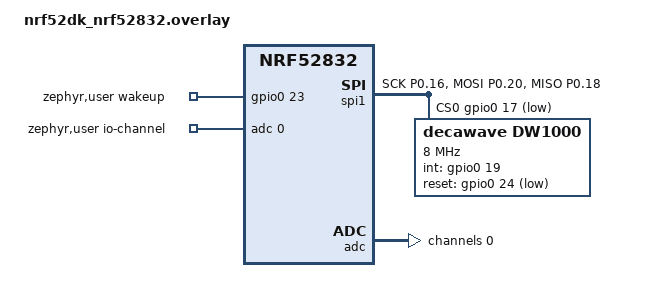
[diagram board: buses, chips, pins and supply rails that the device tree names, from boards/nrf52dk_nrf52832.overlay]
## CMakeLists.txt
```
cmake_minimum_required(VERSION 3.20.0)

# Board overlay for DWM1001 pin assignments is at boards/nrf52dk_nrf52832.overlay.
# Zephyr picks it up automatically when building with -b nrf52dk_nrf52832.

# ---------------------------------------------------------------------------
# Low-power tag profile (ADR-0046, UWB-314)
#
# `-DCONFIG_UWB_TAG_LOW_POWER=y` on the west build command line is a CLI
# Kconfig override. Under this app's sysbuild flow (sysbuild.conf enables
# MCUboot), sysbuild forwards a raw `-DCONFIG_<NAME>=<val>` CLI arg to this
# child image's own cmake invocation as `-DCLI_CONFIG_<NAME>:INTERNAL=<val>`
# (renamed to avoid colliding with Kconfig's own `CONFIG_<NAME>` cache
# variable, which does not exist yet at this point) — verified empirically
# against this repo's pinned NCS v2.7.0 tree (build_lowpower/UWB-314/
# CMakeCache.txt) while implementing this ticket; a plain
# `if(CONFIG_UWB_TAG_LOW_POWER)` check here silently sees nothing, even
# though Kconfig itself (inside find_package(Zephyr) below) correctly
# resolves the same CLI override on its own, independently of this check.
#
# So: check CLI_CONFIG_UWB_TAG_LOW_POWER here, *before* find_package(Zephyr)
# runs Kconfig, to conditionally layer overlay-lowpower.conf on top of
# prj.conf via EXTRA_CONF_FILE (which must be set before find_package(Zephyr)
# — the documented Zephyr mechanism for CMake-time-conditional conf
# fragments). See overlay-lowpower.conf's header comment for what it sets and
# why a .conf fragment (rather than a Kconfig `default`) is required here.
# Default (bench) builds do not pass the CLI override, so neither variable is
# set and EXTRA_CONF_FILE is left untouched — behaviour is unchanged.
# ---------------------------------------------------------------------------
if(CLI_CONFIG_UWB_TAG_LOW_POWER)
  list(APPEND EXTRA_CONF_FILE "${CMAKE_CURRENT_SOURCE_DIR}/overlay-lowpower.conf")
endif()

find_package(Zephyr REQUIRED HINTS $ENV{ZEPHYR_BASE})
project(uwb_tag_firmware VERSION 0.1.0)

# NOTE: the VERSION above is plain CMake project() metadata, unrelated to the
# MCUboot-signed *image* version. The single source of truth for the image
# version is the top-level VERSION file (UWB-266, ADR-0040) -- Zephyr
# generates include/generated/app_version.h from it (APP_VERSION_STRING
# etc., consumed by src/main.c) and CONFIG_MCUBOOT_IMGTOOL_SIGN_VERSION
# defaults from the same file (zephyr/modules/Kconfig.mcuboot), so imgtool
# signs with the identical version reported in the boot log / over SMP.

target_sources(app PRIVATE
  src/main.c
  src/image_health.c          # pure gate decision logic (UWB-266, host-testable)
  src/image_health_zephyr.c   # Zephyr-side check gathering (UWB-266)
  src/ble_adv_policy.c         # pure BLE adv-policy decision (UWB-320, host-testable)
  src/ble_adv_policy_zephyr.c  # Zephyr-side BLE adv start/stop wiring (UWB-320)
)

if(CONFIG_UWB_BATTERY_MONITOR)
  target_sources(app PRIVATE
    src/battery.c          # pure raw-counts -> mV/percent conversion (UWB-322, host-testable)
    src/battery_zephyr.c   # Zephyr-side SAADC read + timer + os_mgmt/log wiring (UWB-322)
  )
endif()

# Vendored Decawave DW1000 driver (enabled via CONFIG_DW1000 in prj.conf).
# The subdirectory CMakeLists.txt gates itself on CONFIG_DW1000.
add_subdirectory(drivers/dw1000)
```

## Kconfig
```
# Application root Kconfig for uwb_tag_firmware.
#
# Zephyr's CMake module (cmake/modules/kconfig.cmake) automatically promotes
# this file to KCONFIG_ROOT when it is present in APPLICATION_SOURCE_DIR,
# replacing the default $(ZEPHYR_BASE)/Kconfig.  This file therefore MUST
# source the Zephyr tree first so that all board/SoC/kernel symbols are still
# defined.
#
# Application-specific symbols are sourced after the Zephyr tree.

source "$(ZEPHYR_BASE)/Kconfig"

# DW1000 UWB transceiver driver (vendored Decawave API)
source "$(APPLICATION_SOURCE_DIR)/drivers/dw1000/Kconfig"

# ---------------------------------------------------------------------------
# Tag power-management profile (ADR-0046, UWB-314)
#
# "LocationTag" is a low-power *profile* of the single tag app, not a forked
# app/board (ADR-0046 "Decision"). This symbol is the switch; what it
# actually changes lives in overlay-lowpower.conf, layered on top of
# prj.conf by CMakeLists.txt (EXTRA_CONF_FILE) whenever this is set — see
# that file's header comment for the settings themselves and why they live
# in a .conf fragment rather than Kconfig `default`/`select` overrides here
# (the board's own nrf52dk_nrf52832_defconfig assigns real values to several
# of the symbols involved, which outranks any conditional Kconfig default).
#
# Bench/debug builds (this symbol left at its default, n) are unaffected:
# RTT + UART logging and always-on BLE advertising are unchanged.
#
# Out of scope here (later UWB-13 subissues, ADR-0046 "New work created"):
# DW1000 sleep/wake (UWB-316), the STANDBY state machine (UWB-319),
# BLE-advertising duty-cycle policy (UWB-320), battery monitoring (UWB-322).
# ---------------------------------------------------------------------------

config UWB_TAG_LOW_POWER
	bool "Low-power tag profile (ADR-0046 'LocationTag')"
	default n
	help
	  Enables the field/low-power operating profile described in ADR-0046
	  (docs/adr/0046-tag-power-management-profile.md, FUNDAMENTALS_SPORTS
	  repo): CONFIG_PM_DEVICE plus dropping the RTT/UART log backends (and
	  the UART console) that would otherwise hold the CPU and peripherals
	  awake, and a lower default log level. See overlay-lowpower.conf for
	  the exact settings.

	  NOTE — CONFIG_PM (system-level power-state residency policy) is NOT
	  enabled by this symbol: on the pinned NCS v2.7.0 / Zephyr 3.6.99 tree
	  this repo builds against, no Nordic SoC (nRF52/53/91/54) `select`s
	  HAS_PM, so CONFIG_PM has no satisfiable path to y on nrf52dk_nrf52832
	  (verified locally — `select PM` here fails Kconfig's dependency
	  check). Zephyr's tickless kernel (CONFIG_TICKLESS_KERNEL, default y
	  when TICKLESS_CAPABLE) and the Cortex-M idle loop's WFE/WFI already
	  give event-driven CPU idle between radio events without CONFIG_PM;
	  CONFIG_PM would only add SoC-level residency-state *policy* on top,
	  which this SoC port does not implement in this Zephyr version.
	  CONFIG_PM_DEVICE (device suspend/resume hooks, used by the DW1000
	  sleep seam, UWB-316) has no such dependency and is enabled normally.

	  Leave at the default (n) for bench/debug builds.

	  This is the build-profile + PM-baseline mechanism only (UWB-314). It
	  does not implement the STANDBY state machine, DW1000 sleep/wake, BLE
	  advertising duty-cycling, or battery monitoring — those are separate
	  UWB-13 subissues (UWB-316/319/320/322) that build on this seam.

# ---------------------------------------------------------------------------
# Battery voltage monitor (ADR-0046 point 5, UWB-322)
#
# A local seam only: reads nRF52 SAADC VDD (against the internal reference)
# on a low-rate timer and surfaces the result over MCUmgr os_mgmt (a custom
# "info" format specifier, see src/battery_zephyr.c) and a periodic log
# line. Reporting battery to the cloud would ride the UWB blink payload,
# which needs a contracts/uwb MINOR bump plus solver/schema changes across
# three repos — deferred to "fork B" per ADR-0046's "Open" section; out of
# scope here. This symbol is independent of CONFIG_UWB_TAG_LOW_POWER: it is
# useful in both the bench and low-power profiles.
# ---------------------------------------------------------------------------

config UWB_BATTERY_MONITOR
	bool "Battery voltage monitor (SAADC VDD, ADR-0046 point 5)"
	select ADC
	default n
	help
	  Enables src/battery.c's pure raw-ADC-counts -> millivolts/percentage
	  conversion (host-testable, tests/battery) and src/battery_zephyr.c's
	  SAADC read + low-rate sample loop (CONFIG_UWB_BATTERY_SAMPLE_INTERVAL_S)
	  + os_mgmt/log surfacing.

	  Requires the board devicetree to wire an ADC channel reading
	  NRF_SAADC_VDD (see boards/nrf52dk_nrf52832.overlay's "zephyr,user"
	  node) — battery_zephyr.c fails a devicetree #error at build time if
	  that channel is missing.

	  Out of scope: reporting battery via the UWB blink payload (deferred,
	  ADR-0046 fork B) and low-battery shutdown behaviour (a later
	  ticket).

if UWB_BATTERY_MONITOR

config UWB_BATTERY_SAMPLE_INTERVAL_S
	int "Battery SAADC sample interval (seconds)"
	default 300
	range 1 86400
	help
	  How often battery_zephyr.c re-arms its delayable work item to take a
	  fresh SAADC VDD sample. ADR-0046 point 5 is explicit that this must
	  be a low-rate timer (seconds-minutes), not per tracking cycle — a
	  battery rail changes on a timescale of minutes at the fastest
	  (discharge under load), so there is no accuracy benefit to sampling
	  faster, only wasted SAADC/CPU wake-ups.

	  Default 300 s (5 minutes): frequent enough to catch a meaningfully
	  changing reading during a multi-hour session, infrequent enough to
	  be a negligible contributor to the tag's overall power budget. Not
	  yet empirically tuned against real battery hardware (ADR-0046 point
	  6, "empirical constants are provisioned, not decided here").

endif # UWB_BATTERY_MONITOR
```

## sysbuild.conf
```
# Sysbuild configuration — uwb_tag_firmware
#
# NCS sysbuild builds the application as one of possibly several images.
# Setting SB_CONFIG_BOOTLOADER_MCUBOOT=y adds a second image, "mcuboot"
# (built from the NCS-pinned bootloader/mcuboot tree fetched via west.yml),
# and reconfigures the main application image to build as a **signed,
# MCUboot-loadable** image (CONFIG_BOOTLOADER_MCUBOOT=y is injected into the
# app's own Kconfig automatically by sysbuild — no prj.conf change needed
# here). See ADR-0040 (docs/adr/0040-tag-ota-transport.md, FUNDAMENTALS_SPORTS
# repo) for the decision this implements: "MCUboot bootloader + application-
# managed firmware update over SMP/MCUmgr, carried on BLE" (the BLE/SMP
# transport itself is UWB-265; this ticket, UWB-264, only stands up the
# bootloader + partitions + signing).
#
# Flash partition layout is pinned statically in pm_static.yml (not the
# default dynamic Partition Manager layout) — see that file's header comment
# for the full 512 KB budget breakdown. A static layout is required per
# ADR-0040 point 1: "so the layout is stable across releases (a moving
# auto-layout would break the ability to update already-fielded tags)".

SB_CONFIG_BOOTLOADER_MCUBOOT=y

# ---------------------------------------------------------------------------
# Swap strategy — overwrite-only
#
# Per ADR-0040 point 2: "start with MCUboot overwrite-only (no scratch,
# smaller bootloader, simplest) unless dual-slot swap-with-test fits
# comfortably." On this board (nRF52832: 512 KB flash / 64 KB RAM), a
# swap-with-test layout needs a *third* scratch partition on top of
# mcuboot + slot0 + slot1 + settings, which would either shrink slot0/slot1
# below a workable app size or push mcuboot's own primary/secondary math
# into awkward, hard-to-grow fractions (see pm_static.yml comment for the
# arithmetic). Overwrite-only needs no scratch partition and a smaller
# MCUboot image (no swap state machine to link in), so it fits this budget
# comfortably where swap-with-test would not.
#
# Trade-off accepted: overwrite-only cannot swap a *bad-but-bootable* image
# back to the previous one — a rejected/unconfirmed image is simply not
# retried by MCUboot's swap logic the way swap-with-test's revert would be;
# recovery for a bad-but-bootable image is a fresh known-good upload.
#
# CORRECTION (UWB-266, verified against this NCS v2.7.0 checkout's
# bootloader/mcuboot/boot/bootutil/src/loader.c and bootutil_misc.c): an
# earlier version of this comment claimed "MCUboot's overwrite-only mode
# still reverts to the previous image on the next reset via its own
# boot-count/confirm bookkeeping in the image trailer." That is incorrect
# and is corrected here. In overwrite-only mode:
#   - boot_perform_update() unconditionally calls boot_copy_image(), which
#     erases the primary slot and copies the secondary slot's image over
#     it (loader.c) — there is no dual-image swap, so there is nothing left
#     to "revert" to once this has happened.
#   - The image_ok/copy_done trailer bookkeeping that swap-with-test modes
#     use to decide "boot once, then revert unless confirmed" is compiled
#     out entirely for overwrite-only builds (`#ifndef MCUBOOT_OVERWRITE_ONLY`
#     guards around that logic in bootutil_misc.c/loader.c).
# So: a non-self-confirming image still fails to boot the app (or is caught
# by the app's boot-time self-check, UWB-266, src/image_health.h, before it
# calls boot_write_img_confirmed()) — but MCUboot itself will NOT revert to
# the previous image on the next reset; there is no previous image left.
# The only recovery path for a bad-but-bootable image is uploading a fresh
# known-good image over BLE/SMP (UWB-265). See src/image_health.h and
# README.md "MCUboot & OTA" for how UWB-266's self-check gate is designed
# around this (it deliberately does not force a reboot on failure, since
# that cannot recover anything and would only bootloop). True atomic "swap
# back a running-but-misbehaving image" semantics remain the documented
# revisit trigger noted in ADR-0040 point 2.
SB_CONFIG_MCUBOOT_MODE_OVERWRITE_ONLY=y

# ---------------------------------------------------------------------------
# Signing — development key (non-production)
#
# ADR-0040 point 6: "Use a development signing key committed for the build
# (documented as non-production)." See keys/mcuboot_dev_key.pem for the key
# itself and its header comment (generation command + production-rotation
# checklist). ECDSA P-256 is the modern NCS/MCUboot default signature
# scheme (smaller signatures and keys than RSA-2048, sufficient security
# margin for a dev/bench key).
#
# SB_CONFIG_BOOT_SIGNATURE_KEY_FILE must be an *absolute* path: sysbuild
# resolves a relative value independently for each image (the app image
# resolves it against the west workspace topdir in
# nrf/cmake/sysbuild/image_signing.cmake; the mcuboot image resolves it
# against its own module dir in nrf/modules/mcuboot/CMakeLists.txt), so a
# relative path can silently point at two different (and both wrong)
# locations depending on how the workspace was `west init`'d. Anchor it to
# this application's own directory with the sysbuild-provided
# ${APPLICATION_CONFIG_DIR} CMake variable (defaults to this app's absolute
# source dir; expanded via `string(CONFIGURE)` into every image's merged
# Kconfig, so both images resolve the exact same file regardless of
# workspace layout). The leading backslash (\${...}) is required: it
# escapes the substitution through an earlier, unrelated
# `string(CONFIGURE)` pass so it survives to expand at the right stage —
# this exact escaped form is what NCS's own nrf_desktop sample configs
# commit for SB_CONFIG_BOOT_SIGNATURE_KEY_FILE (see e.g.
# nrf/applications/nrf_desktop/configuration/*/sysbuild.conf in the NCS
# tree); see also
# doc/nrf/config_and_build/bootloaders/bootloader_adding_sysbuild.rst.
SB_CONFIG_BOOT_SIGNATURE_TYPE_ECDSA_P256=y
SB_CONFIG_BOOT_SIGNATURE_KEY_FILE="\${APPLICATION_CONFIG_DIR}/keys/mcuboot_dev_key.pem"
```

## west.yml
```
# West manifest for UWB Tag Firmware
#
# Pins the nRF Connect SDK (NCS) at a specific release so that every
# developer and CI runner gets an identical Zephyr + toolchain tree.
#
# Pinned NCS version: v2.7.0
#
# Workspace setup (one-time, run from a parent directory):
#
#   west init -l uwb_tag_firmware      # if this repo is already cloned
#   west update                        # fetches NCS, Zephyr, modules, …
#
# Or, to initialise a fresh workspace:
#
#   west init --mr v2.7.0 <workspace>
#   cd <workspace>
#   git clone https://github.com/madfog64/FUNDAMENTALS_UWB_FIRMWARE uwb_tag_firmware
#   west update
#
# After west update, build with:
#   west build -b nrf52dk_nrf52832 uwb_tag_firmware

manifest:
  remotes:
    - name: ncs
      url-base: https://github.com/nrfconnect

  projects:
    - name: nrf
      repo-path: sdk-nrf  # NCS lives at github.com/nrfconnect/sdk-nrf (not /nrf)
      remote: ncs
      revision: v2.7.0
      import: true        # pulls in NCS's own manifest (Zephyr, mcuboot, modules, …)

  self:
    path: uwb_tag_firmware
```

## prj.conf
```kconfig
# UWB Tag Firmware — base project configuration
#
# Board-specific settings (e.g. UART baud rate, SPI frequency) go in the
# board overlay (boards/nrf52dk_nrf52832.overlay) or a board-specific
# .conf fragment, not here.

# ---------------------------------------------------------------------------
# Logging
# ---------------------------------------------------------------------------
CONFIG_LOG=y
# INFO level (3); bump to 4 (DBG) during development. Kconfig has no trailing
# inline comments — the whole RHS is parsed as the value.
CONFIG_LOG_DEFAULT_LEVEL=3

# RTT backend: view with J-Link RTT Viewer or `west debug --runner jlink`
CONFIG_LOG_BACKEND_RTT=y
CONFIG_USE_SEGGER_RTT=y

# UART backend: enabled via board default; view over USB-CDC on nrf52dk
CONFIG_LOG_BACKEND_UART=y

# Print the boot banner through the logging subsystem so it appears on all
# enabled backends.
CONFIG_BOOT_BANNER=y

# ---------------------------------------------------------------------------
# Console (UART, for shell / printk fallback)
# ---------------------------------------------------------------------------
CONFIG_SERIAL=y
CONFIG_UART_CONSOLE=y

# ---------------------------------------------------------------------------
# Low-power tag profile (ADR-0046, UWB-314)
#
# CONFIG_UWB_TAG_LOW_POWER (Kconfig, default n) gates a field/power-optimised
# build. Bench builds (this file, unmodified) are unaffected; see
# overlay-lowpower.conf for the settings applied on top of this file when the
# flag is set (CMakeLists.txt wires it in via EXTRA_CONF_FILE — see that
# file's header comment for why a plain Kconfig `default` cannot do this: the
# board's own nrf52dk_nrf52832_defconfig assigns CONFIG_SERIAL /
# CONFIG_USE_SEGGER_RTT / CONFIG_UART_CONSOLE real values that outrank any
# conditional Kconfig default regardless of symbol/select ordering).
# ---------------------------------------------------------------------------

# ---------------------------------------------------------------------------
# Battery voltage monitor (ADR-0046 point 5, UWB-322)
#
# Enabled in both the bench and low-power profiles (independent of
# CONFIG_UWB_TAG_LOW_POWER) — see Kconfig for the full symbol help text and
# src/battery.h / src/battery_zephyr.c for the module itself.
# CONFIG_UWB_BATTERY_SAMPLE_INTERVAL_S is left at its Kconfig default (300 s);
# override here if a shorter/longer interval is needed for a given build.
# ---------------------------------------------------------------------------
CONFIG_UWB_BATTERY_MONITOR=y

# ---------------------------------------------------------------------------
# DW1000 UWB transceiver driver (vendored Decawave API)
#
# CONFIG_DW1000=y automatically selects CONFIG_SPI and CONFIG_GPIO via Kconfig
# (see drivers/dw1000/Kconfig).  They are listed here explicitly for clarity.
#
# The Zephyr SPI + GPIO port layer (deca_port.c, UWB-93) implements the five
# deca_driver platform symbols; the __weak stubs (deca_port_stub.c, UWB-92)
# are overridden at link time.
# ---------------------------------------------------------------------------
CONFIG_DW1000=y
CONFIG_SPI=y
CONFIG_GPIO=y

# Work queue (system work queue) is enabled by default; listed here for
# documentation — the IRQ deferred-ISR path uses k_work_submit(). Bumped
# from 2048 to the value NCS's smp_svr sample uses (2304) now that MCUmgr
# command handlers (which run on this queue) are enabled below — some
# handlers (e.g. image upload) need more stack than the DW1000 IRQ path did.
CONFIG_SYSTEM_WORKQUEUE_STACK_SIZE=2304
CONFIG_MAIN_STACK_SIZE=2048

# ---------------------------------------------------------------------------
# BLE peripheral + SMP/MCUmgr DFU transport (ADR-0040, UWB-265)
#
# Builds on UWB-264's MCUboot + static partitions (sysbuild.conf,
# pm_static.yml). This adds the BLE GATT peripheral and the MCUmgr
# management server so an SMP client (mcumgr CLI / nRF Connect Device
# Manager) can upload a new signed image into the MCUboot secondary slot
# (mcuboot_secondary / slot1) over BLE. Mirrors NCS v2.7.0's in-tree
# reference sample (zephyr/samples/subsys/mgmt/mcumgr/smp_svr,
# prj.conf + overlay-bt.conf), trimmed to only the img_mgmt/os_mgmt groups
# and the BT transport this ticket scopes — no fs_mgmt/stat_mgmt/LittleFS,
# no shell transport (serial/USB SMP is out of scope, UWB-267).
#
# Out of scope here (see src/main.c and README "MCUboot & OTA" section):
# self-confirm / test-and-rollback / version-set logic is UWB-266.
# ---------------------------------------------------------------------------

# --- BLE peripheral --------------------------------------------------------
CONFIG_BT=y
CONFIG_BT_PERIPHERAL=y

# Stable, connectable device name an SMP client scans for. Static across all
# tags (not per-device/per-DW1000-id) — matches ADR-0040 point 3 ("stable
# device name"); disambiguating multiple tags in range is left to the
# client's BLE address list, not the advertised name.
CONFIG_BT_DEVICE_NAME="UWB-Tag"

# Larger ATT MTU / ACL buffers and max-length data channel PDUs so an SMP
# image upload isn't bottlenecked by the default (~27 byte) BLE packet size.
# Values match NCS's smp_svr sample overlay-bt.conf.
CONFIG_BT_L2CAP_TX_MTU=498
CONFIG_BT_BUF_ACL_RX_SIZE=502
CONFIG_BT_BUF_ACL_TX_SIZE=502
CONFIG_BT_CTLR_DATA_LENGTH_MAX=251

# --- MCUmgr / SMP core -------------------------------------------------------
CONFIG_NET_BUF=y
CONFIG_ZCBOR=y
CONFIG_MCUMGR=y

# Flash-map / stream-flash plumbing img_mgmt needs to write an uploaded image
# into the MCUboot secondary slot (mcuboot_secondary partition, pm_static.yml).
CONFIG_FLASH=y
CONFIG_FLASH_MAP=y
CONFIG_STREAM_FLASH=y
CONFIG_IMG_MANAGER=y

# --- MCUmgr management groups -----------------------------------------------
# img_mgmt: upload/list/test/confirm against the MCUboot secondary slot.
CONFIG_MCUMGR_GRP_IMG=y

# os_mgmt: echo/reset/taskstat (+ running image version, reported via
# img_mgmt's "image list", which reads it from the MCUboot image header).
CONFIG_MCUMGR_GRP_OS=y
CONFIG_MCUMGR_GRP_OS_TASKSTAT=y
CONFIG_THREAD_MONITOR=y
CONFIG_MCUMGR_GRP_OS_MCUMGR_PARAMS=y

# os_mgmt "info" command + the custom-hooks extension point battery.c/
# battery_zephyr.c (UWB-322, ADR-0046 point 5) uses to append a "battery=..."
# field to `os info` responses. MCUMGR_MGMT_NOTIFICATION_HOOKS is the base
# notification-callback plumbing MCUMGR_GRP_OS_INFO_CUSTOM_HOOKS depends on.
CONFIG_MCUMGR_MGMT_NOTIFICATION_HOOKS=y
CONFIG_MCUMGR_GRP_OS_INFO=y
CONFIG_MCUMGR_GRP_OS_INFO_CUSTOM_HOOKS=y

# --- MCUmgr BLE transport ----------------------------------------------------
CONFIG_MCUMGR_TRANSPORT_BT=y

# No pairing/bonding infra exists on this bench-stage build (ADR-0040 point 6
# scopes secure-boot/production hardening to a later ADR); disable the
# authenticated-link requirement so an unpaired SMP client can reach the
# service. Revisit alongside production signing-key custody.
CONFIG_MCUMGR_TRANSPORT_BT_AUTHEN=n

# Request a short connection interval during SMP command exchange to speed
# up image upload throughput (recommended by Zephyr's MCUmgr docs when SMP
# is used for DFU).
CONFIG_MCUMGR_TRANSPORT_BT_CONN_PARAM_CONTROL=y

# Reassemble multi-fragment SMP packets so a full MTU-sized command doesn't
# have to fit in one BLE write; buffer sized for one SMP packet split across
# five BLE writes at the 498-byte MTU above (matches smp_svr sample).
CONFIG_MCUMGR_TRANSPORT_BT_REASSEMBLY=y
CONFIG_MCUMGR_TRANSPORT_NETBUF_SIZE=2475
CONFIG_MCUMGR_TRANSPORT_WORKQUEUE_STACK_SIZE=4608
```

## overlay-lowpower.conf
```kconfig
# Low-power tag profile overlay (ADR-0046, UWB-314)
#
# Layered on top of prj.conf by CMakeLists.txt (EXTRA_CONF_FILE) only when
# CONFIG_UWB_TAG_LOW_POWER=y is passed on the west build command line, e.g.:
#
#   west build -b nrf52dk_nrf52832 . --sysbuild -- -DCONFIG_UWB_TAG_LOW_POWER=y
#
# Why a .conf fragment and not a Kconfig `default`/`select` block in the
# app's root Kconfig: several of the symbols below are given real (i.e. not
# `default`) values by the board's own
# $ZEPHYR_BASE/boards/nordic/nrf52dk/nrf52dk_nrf52832_defconfig
# (CONFIG_SERIAL=y, CONFIG_USE_SEGGER_RTT=y, CONFIG_UART_CONSOLE=y). Per
# standard Kconfig semantics, an assigned value always outranks a `default`
# clause regardless of the default's condition or where it is sourced from
# — verified empirically against this repo's pinned NCS v2.7.0 tree while
# implementing this ticket. A later-merged .conf fragment is the documented,
# reliable way to override a board-level assignment; EXTRA_CONF_FILE entries
# are merged after prj.conf (and after the board defconfig), so plain `=`
# assignments here win.
#
# CONFIG_PM (system-level power-state residency policy) is intentionally
# NOT set here — see the CONFIG_UWB_TAG_LOW_POWER help text in the app's
# Kconfig for why it is unavailable on nrf52dk_nrf52832 with this pinned
# Zephyr/NCS version (no Nordic SoC selects HAS_PM in that tree).

# ---------------------------------------------------------------------------
# Zephyr PM baseline (ADR-0046 point 1)
# ---------------------------------------------------------------------------

# Device-level power management hooks (suspend/resume) — the seam the
# DW1000 sleep/wake driver (UWB-316) hangs off. Does not depend on HAS_PM.
CONFIG_PM_DEVICE=y

# ---------------------------------------------------------------------------
# Logging — drop the backends that hold the CPU/peripherals awake
# (RTT needs the debugger link powered + polls a RAM ring buffer; the UART
# backend keeps the UART peripheral clocked) and lower the default level so
# fewer messages are formatted/queued in the first place.
# ---------------------------------------------------------------------------
CONFIG_LOG_BACKEND_RTT=n
CONFIG_USE_SEGGER_RTT=n
CONFIG_LOG_BACKEND_UART=n

# ERROR only (1) — see subsys/logging/Kconfig.filtering for the level table
# (0 OFF / 1 ERR / 2 WRN / 3 INF / 4 DBG). CONFIG_LOG itself stays enabled
# (prj.conf) so log call sites still compile; with no backend registered
# there is nowhere for them to go, but keeping the subsystem on (rather than
# CONFIG_LOG=n) means a future backend (e.g. a battery-backed flash log) can
# be added under this profile without touching every LOG_* call site.
CONFIG_LOG_DEFAULT_LEVEL=1

# ---------------------------------------------------------------------------
# UART console — nothing in this profile's scope needs it: no shell
# transport is enabled (serial/USB SMP is explicitly out of scope, see
# README "BLE / SMP-MCUmgr DFU transport"), and BLE/SMP-over-BLE (UWB-265)
# does not use it. Disabling CONFIG_SERIAL powers down the UART peripheral
# entirely on this profile; CONFIG_UART_CONSOLE and CONFIG_LOG_BACKEND_UART
# above both `depends on` it (directly or transitively) so this is also
# belt-and-braces for that chain.
# ---------------------------------------------------------------------------
CONFIG_SERIAL=n
CONFIG_UART_CONSOLE=n
```

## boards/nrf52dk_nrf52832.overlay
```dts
/*
 * DWM1001 module overlay for the nrf52dk_nrf52832 board target.
 *
 * The DWM1001 module integrates a Nordic nRF52832 and a Decawave DW1000
 * UWB transceiver on a single PCB.  The DW1000 is connected to the nRF52832
 * via SPI1 with the pin mapping below, confirmed from the Decawave DWM1001
 * module schematic and the reference nRF5-SDK firmware (dw1001_dev.h).
 *
 * Pin mapping (nRF52832 port 0):
 *   SPI1 SCK   P0.16
 *   SPI1 MOSI  P0.20
 *   SPI1 MISO  P0.18
 *   SPI1 CS    P0.17  (software-managed CS via cs-gpios, active-low)
 *   DW1000 IRQ    P0.19  (active-high: DW1000 asserts high on event)
 *   DW1000 RST    P0.24  (active-low open-drain: drive low to reset, then release)
 *   DW1000 WAKEUP P0.23  (active-high: drive high >= 500 us to wake from
 *                         DEEPSLEEP, UWB-316 — see drivers/dw1000/dw1000_sleep.h)
 *
 * WAKEUP pin note: this is a placeholder pin assignment for the
 * nrf52dk_nrf52832 stand-in target used throughout this repo (no real DWM1001
 * board file exists yet) — it is NOT verified against a DWM1001 carrier board
 * schematic. Confirm the real WAKEUP trace before relying on this on
 * hardware; see the bring-up checklist in drivers/dw1000/dw1000_sleep.h.
 *
 * SPI driver choice: "nordic,nrf-spi" (non-DMA, interrupt-driven), NOT
 * "nordic,nrf-spim".  The nRF52832 SPIM peripheral has Product Anomaly 58
 * (PAN-58: an extra byte is clocked when RXD.MAXCNT=1 and TXD.MAXCNT<=1).
 * Using the non-DMA SPI driver avoids PAN-58 entirely and matches how the
 * official Decawave DWM1001 dev board configures SPI in the Zephyr tree.
 *
 * The DW1000 SPI device node uses the upstream Zephyr binding at
 * zephyr/dts/bindings/ieee802154/decawave,dw1000.yaml (compatible =
 * "decawave,dw1000", on-bus: spi).  The IRQ property name in that binding is
 * "int-gpios".  The port layer in drivers/dw1000/port/deca_port.c consumes it
 * via SPI_DT_SPEC_GET and GPIO_DT_SPEC_GET.
 *
 * NCS version: v2.7.0 (Zephyr 3.6.x)
 * Uses pinctrl-based pin assignment required by NCS >= v2.1.
 */

#include <zephyr/dt-bindings/gpio/gpio.h>
#include <zephyr/dt-bindings/adc/nrf-adc.h>

&pinctrl {
	spi1_default: spi1_default {
		group1 {
			psels = <NRF_PSEL(SPIM_SCK,  0, 16)>,
				<NRF_PSEL(SPIM_MOSI, 0, 20)>,
				<NRF_PSEL(SPIM_MISO, 0, 18)>;
		};
	};

	spi1_sleep: spi1_sleep {
		group1 {
			psels = <NRF_PSEL(SPIM_SCK,  0, 16)>,
				<NRF_PSEL(SPIM_MOSI, 0, 20)>,
				<NRF_PSEL(SPIM_MISO, 0, 18)>;
			low-power-enable;
		};
	};
};

&spi1 {
	compatible = "nordic,nrf-spi";
	status = "okay";
	pinctrl-0 = <&spi1_default>;
	pinctrl-1 = <&spi1_sleep>;
	pinctrl-names = "default", "sleep";
	cs-gpios = <&gpio0 17 GPIO_ACTIVE_LOW>;

	/*
	 * DW1000 UWB transceiver — SPI slave 0 (CS = gpio0.17).
	 *
	 * spi-max-frequency is the fast operating frequency (8 MHz).
	 * The port layer (port_set_dw1000_slowrate) overrides this to 2 MHz
	 * before calling dwt_initialise(), then restores it via
	 * port_set_dw1000_fastrate() after initialisation.
	 */
	dw1000: dw1000@0 {
		compatible = "decawave,dw1000";
		reg = <0>;
		spi-max-frequency = <8000000>;    /* 8 MHz fast rate */
		int-gpios   = <&gpio0 19 GPIO_ACTIVE_HIGH>;
		reset-gpios = <&gpio0 24 GPIO_ACTIVE_LOW>;
	};
};

/*
 * DW1000 WAKEUP GPIO (UWB-316).
 *
 * The upstream "decawave,dw1000" binding does not define a wakeup-gpios
 * property (this repo does not own/vendor that binding, so it is not
 * extended directly) — wired instead on the generic, schema-free
 * `/{ zephyr,user { ... }; };` node, Zephyr's standard mechanism for ad hoc
 * board GPIO wiring outside a device's own binding. See
 * drivers/dw1000/port/deca_port.c (port_wakeup_dw1000(), guarded on
 * DT_NODE_HAS_PROP so boards without this property build unaffected) and
 * drivers/dw1000/dw1000_sleep.c (dw1000_wake()).
 */
/ {
	zephyr,user {
		wakeup-gpios = <&gpio0 23 GPIO_ACTIVE_HIGH>;

		/*
		 * Battery voltage monitor ADC channel (UWB-322, ADR-0046
		 * point 5). Index 0 into this node's io-channels list is
		 * what src/battery_zephyr.c's ADC_DT_SPEC_GET(DT_PATH(zephyr_user))
		 * resolves to (idx defaults to 0) -- see &adc's channel@0
		 * below for the actual gain/reference/resolution config,
		 * which src/battery.h's conversion constants must match.
		 */
		io-channels = <&adc 0>;
	};
};

/*
 * SAADC channel reading NRF_SAADC_VDD (UWB-322, ADR-0046 point 5).
 *
 * Gain 1/6 + internal 0.6 V reference gives a 3.6 V full-scale range
 * (0.6 V / (1/6) = 3.6 V), comfortably spanning the tag's expected
 * single-cell Li-based VDD range (~1.8-3.6 V) without an external divider --
 * the standard nRF52 "read VDD via SAADC" configuration (see
 * src/battery.h's header comment for the full derivation
 * battery_raw_to_millivolts() relies on).
 *
 * &adc defaults to status = "disabled" in the SoC devicetree
 * (zephyr/dts/arm/nordic/nrf52832.dtsi) -- must be explicitly re-enabled
 * here.
 */
&adc {
	status = "okay";
	#address-cells = <1>;
	#size-cells = <0>;

	channel@0 {
		reg = <0>;
		zephyr,gain = "ADC_GAIN_1_6";
		zephyr,reference = "ADC_REF_INTERNAL";
		zephyr,acquisition-time = <ADC_ACQ_TIME(ADC_ACQ_TIME_MICROSECONDS, 40)>;
		zephyr,input-positive = <NRF_SAADC_VDD>;
		zephyr,resolution = <12>;
	};
};
```

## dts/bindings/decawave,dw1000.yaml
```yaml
# SPDX-License-Identifier: MIT
# Copyright (c) 2024 Fundamentals UWB project contributors.
#
# Devicetree binding for the Decawave DW1000 UWB transceiver (SPI-attached).
#
# The DW1000 is a full-duplex SPI peripheral that operates in SPI mode 0
# (CPOL=0, CPHA=0) at up to 20 MHz (after initialisation; must be < 3 MHz
# during dwt_initialise).  The binding adds two GPIO properties on top of the
# standard spi-device base: an active-high IRQ line and an active-low (open-
# drain) RESET line.
#
# NCS version: v2.7.0 (Zephyr 3.6.x)

description: Decawave DW1000 UWB transceiver (SPI)

compatible: "decawave,dw1000"

include: spi-device.yaml

properties:
  irq-gpios:
    type: phandle-array
    required: true
    description: |
      GPIO connected to the DW1000 IRQ (EXTON) pin.
      The DW1000 asserts this pin high when an event requires host attention
      (frame received, transmission done, error, etc.).  Configure as
      active-high: <&gpioX n GPIO_ACTIVE_HIGH>.

  reset-gpios:
    type: phandle-array
    required: true
    description: |
      GPIO connected to the DW1000 RESET pin.
      The RESET pin is open-drain: the DW1000 drives it low during a
      power-on reset; the host drives it low to force a hardware reset.
      After reset the host must release the pin (configure as input) so the
      DW1000's internal pull-up can bring it high.
      Configure as active-low: <&gpioX n GPIO_ACTIVE_LOW>.
```

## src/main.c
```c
/*
 * UWB Tag Firmware — main entry point
 *
 * Skeleton: logs a boot banner (including the image version, UWB-266), runs
 * the boot-time self-check gate and confirms the image to MCUboot on
 * success (UWB-266, ADR-0040), brings up BLE + the MCUmgr SMP server
 * (UWB-265, ADR-0040), and idles. All UWB/DW1000 functionality beyond the
 * self-check's presence/wiring probe is added in subsequent subissues
 * (UWB-91 deca_driver port, UWB-92 blink app).
 *
 * BLE/MCUmgr scope is deliberately minimal: initialise the BLE peripheral and
 * start connectable advertising so an SMP client (mcumgr CLI / nRF Connect
 * Device Manager) can find and connect to the tag and drive
 * img_mgmt/os_mgmt commands (the handlers themselves are registered
 * automatically by CONFIG_MCUMGR_GRP_IMG / CONFIG_MCUMGR_GRP_OS, no
 * application code needed).
 *
 * BLE advertising duty-cycle policy (UWB-320, ADR-0046 point 4): the actual
 * advertise/stop wiring now lives in ble_adv_policy.{h,c}/
 * ble_adv_policy_zephyr.c. main.c only initialises the policy and drives it
 * with an initial power state -- see bt_ready() below for what state and
 * why. The bench profile (!CONFIG_UWB_TAG_LOW_POWER) always advertises
 * regardless of the requested state, so this is a no-op behaviour change
 * for that profile.
 *
 * Image self-confirm / test-and-rollback / version-set (UWB-266):
 *   See image_health.h for the gate itself and the honest writeup of what
 *   "test-and-rollback" actually means under this repo's MCUboot
 *   overwrite-only swap mode (short version: MCUboot itself cannot revert a
 *   bad-but-bootable image in this configuration — see README.md "MCUboot &
 *   OTA"). The gate below is deliberately conservative: on failure it logs
 *   and leaves the image unconfirmed, but does NOT force a reboot (there is
 *   no previous image to fall back to, so a reboot loop would only make
 *   things worse and could brick the ability to re-flash over BLE/SMP).
 *
 * Build target: nrf52dk_nrf52832 (DWM1001 module, configured via board overlay)
 */

#include <zephyr/kernel.h>
#include <zephyr/logging/log.h>
#include <zephyr/bluetooth/bluetooth.h>
#include <zephyr/dfu/mcuboot.h>

#include <app_version.h>

#include "ble_adv_policy.h"
#include "image_health.h"

#if defined(CONFIG_UWB_BATTERY_MONITOR)
#include "battery.h"
#endif

LOG_MODULE_REGISTER(main, LOG_LEVEL_DBG);

/*
 * Runs the UWB-266 boot self-check gate and, on success, marks the running
 * image permanent via boot_write_img_confirmed(). Idempotent: does nothing
 * if the image is already confirmed (e.g. a normal warm reset of an
 * already-confirmed image, not a fresh update).
 *
 * Called early in main(), before BLE/SMP bring-up, so a broken image is
 * caught (and stays unconfirmed) as soon as possible after boot — see
 * image_health.h for why this repo's overwrite-only MCUboot mode means
 * "unconfirmed" is observability (mcumgr `image list` -> confirmed: false),
 * not an automatic revert trigger.
 */
static void confirm_image_if_healthy(void)
{
	if (boot_is_img_confirmed()) {
		LOG_DBG("Image already confirmed — skipping self-check");
		return;
	}

	if (image_health_run_checks() != IMAGE_HEALTH_OK) {
		LOG_ERR("Boot self-check FAILED — image left unconfirmed");
		return;
	}

	int rc = boot_write_img_confirmed();

	if (rc != 0) {
		LOG_ERR("boot_write_img_confirmed() failed (err %d)", rc);
		return;
	}

	LOG_INF("Boot self-check passed — image confirmed permanent");
}

static void bt_ready(int err)
{
	if (err) {
		LOG_ERR("Bluetooth init failed (err %d) — MCUmgr/SMP-over-BLE unavailable", err);
		return;
	}

	LOG_INF("Bluetooth initialised");

	ble_adv_policy_init();

	/*
	 * Initial power state (UWB-320, ADR-0046 point 4): the STANDBY
	 * power-state machine that would drive ble_adv_policy_set_state()
	 * from real session/SYNC-loss state is a sibling ticket (UWB-319,
	 * not yet implemented) -- see ble_adv_policy.h's "Scope note". Until
	 * then, default to STANDBY at boot: the tag has no active session
	 * yet (join/track orchestration is itself deferred, see the file
	 * header above), so STANDBY -- "advertise, this is the maintenance
	 * window" (ADR-0040) -- is the correct state to boot into.
	 *
	 * Bench profile (!CONFIG_UWB_TAG_LOW_POWER): this call always
	 * enables advertising regardless of the state passed in, so boot
	 * behaviour there is unchanged from before UWB-320.
	 */
	ble_adv_policy_set_state(BLE_ADV_POLICY_STATE_STANDBY);
}

int main(void)
{
	int err;

	LOG_INF("UWB Tag Firmware starting — board: %s, version: %s, built: %s %s",
		CONFIG_BOARD, APP_VERSION_STRING, __DATE__, __TIME__);

	/*
	 * Run the self-check gate as early as practical (before BLE/SMP
	 * bring-up) so a broken image is caught, and stays unconfirmed, as
	 * soon as possible after boot (UWB-266).
	 */
	confirm_image_if_healthy();

#if defined(CONFIG_UWB_BATTERY_MONITOR)
	/*
	 * Battery voltage monitor (UWB-322, ADR-0046 point 5): starts the
	 * low-rate SAADC VDD sample loop (CONFIG_UWB_BATTERY_SAMPLE_INTERVAL_S)
	 * and, when CONFIG_MCUMGR_GRP_OS_INFO_CUSTOM_HOOKS is enabled,
	 * registers the os_mgmt "info" custom hook that surfaces the latest
	 * reading (see battery_zephyr.c). Started before BLE/SMP bring-up so
	 * an os_mgmt query shortly after boot is at least attempting a
	 * reading (the very first sample may still be pending, in which case
	 * battery_monitor_get_latest() reports "no reading yet" -- see
	 * battery.h).
	 */
	int battery_err = battery_monitor_init();

	if (battery_err != 0) {
		LOG_ERR("Battery monitor init failed (err %d) -- continuing without it",
			battery_err);
	}
#endif

	err = bt_enable(bt_ready);
	if (err) {
		LOG_ERR("bt_enable() failed (err %d)", err);
	}

	LOG_DBG("Entering idle loop — UWB subsystem not yet initialised");

	while (1) {
		k_sleep(K_MSEC(1000));
	}

	/* Unreachable; main() returning is treated as an error in Zephyr. */
	return 0;
}
```

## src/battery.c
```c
/*! ----------------------------------------------------------------------------
 * @file    battery.c
 * @brief   Pure conversion arithmetic for the battery voltage monitor
 *          (UWB-322, ADR-0046 point 5).
 *
 * Deliberately free of any Zephyr/hardware include -- this is the unit-test
 * seam (tests/battery) for the raw-ADC-counts -> millivolts/percentage
 * conversion. The Zephyr-facing counterpart that actually reads the SAADC
 * and surfaces the result is battery_zephyr.c.
 *
 * @attention
 * SPDX-License-Identifier: MIT
 * Copyright (c) 2024 Fundamentals UWB project contributors.
 */

#include <stddef.h>

#include "battery.h"

uint16_t battery_raw_to_millivolts(int32_t raw_counts)
{
    /* Clamp to the valid single-ended SAADC range -- see battery.h's
     * documentation of @p raw_counts for why a negative or over-range value
     * can occur (should not happen for a single-ended VDD channel, but a
     * clamp is cheap insurance against a misconfigured channel producing a
     * nonsensical percentage rather than a wrapped/underflowed one). */
    if (raw_counts < 0) {
        raw_counts = 0;
    } else if (raw_counts > BATTERY_ADC_MAX_RAW) {
        raw_counts = BATTERY_ADC_MAX_RAW;
    }

    /* Ideal ADC transfer function: V_in = (raw / 2^BITS) * V_ref_effective,
     * where V_ref_effective = BATTERY_ADC_REFERENCE_MV * BATTERY_ADC_GAIN_DIVISOR
     * (the SAADC's internal 0.6 V reference, scaled up by the reciprocal of
     * the 1/6 gain -- see battery.h header comment for the full derivation).
     * 2^BITS (not 2^BITS - 1) is the correct denominator for this transfer
     * function; using int64_t for the intermediate product avoids any risk
     * of 32-bit overflow (worst case ~14.7M, nowhere close either way, but
     * this keeps the arithmetic obviously safe regardless of future constant
     * changes). */
    int64_t numerator = (int64_t)raw_counts * BATTERY_ADC_REFERENCE_MV * BATTERY_ADC_GAIN_DIVISOR;
    int64_t millivolts = numerator / (1 << BATTERY_ADC_RESOLUTION_BITS);

    return (uint16_t)millivolts;
}

/* Piecewise-linear breakpoints approximating a single-cell Li-based
 * (LiPo/Li-ion) discharge curve -- see battery.h's doc comment for the
 * "not a calibrated fuel-gauge curve" caveat. Ascending by millivolts. */
struct battery_percent_breakpoint {
    uint16_t millivolts;
    uint8_t percent;
};

static const struct battery_percent_breakpoint breakpoints[] = {
    { 3000, 0 },
    { 3400, 20 },
    { 3700, 50 },
    { 3900, 80 },
    { 4200, 100 },
};

#define BATTERY_PERCENT_BREAKPOINT_COUNT \
    (sizeof(breakpoints) / sizeof(breakpoints[0]))

uint8_t battery_millivolts_to_percent(uint16_t millivolts)
{
    /* Below the lowest breakpoint: clamp to 0% rather than extrapolating
     * (a Li-based cell below its cutoff voltage is effectively empty). */
    if (millivolts <= breakpoints[0].millivolts) {
        return breakpoints[0].percent;
    }

    /* Above the highest breakpoint: clamp to 100% (a fresh charge can sit
     * briefly above the "fully charged" breakpoint before settling). */
    if (millivolts >= breakpoints[BATTERY_PERCENT_BREAKPOINT_COUNT - 1].millivolts) {
        return breakpoints[BATTERY_PERCENT_BREAKPOINT_COUNT - 1].percent;
    }

    /* Linear interpolation between the two breakpoints millivolts falls
     * between. */
    for (size_t i = 0; i < BATTERY_PERCENT_BREAKPOINT_COUNT - 1; i++) {
        const struct battery_percent_breakpoint *lo = &breakpoints[i];
        const struct battery_percent_breakpoint *hi = &breakpoints[i + 1];

        if (millivolts >= lo->millivolts && millivolts <= hi->millivolts) {
            int32_t mv_span = hi->millivolts - lo->millivolts;
            int32_t pct_span = hi->percent - lo->percent;
            int32_t mv_offset = millivolts - lo->millivolts;

            return (uint8_t)(lo->percent + (pct_span * mv_offset) / mv_span);
        }
    }

    /* Unreachable given the clamps above, but keeps the compiler happy about
     * a fall-through return path. */
    return breakpoints[BATTERY_PERCENT_BREAKPOINT_COUNT - 1].percent;
}
```

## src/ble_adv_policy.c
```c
/*! ----------------------------------------------------------------------------
 * @file    ble_adv_policy.c
 * @brief   Pure decision logic for the BLE advertising duty-cycle policy
 *          (UWB-320, ADR-0046 point 4).
 *
 * Deliberately free of any Zephyr/BT-stack include -- this is the unit-test
 * seam (tests/ble_adv_policy) for the policy's on/off decision. The
 * Zephyr-facing counterpart that actually starts/stops advertising is
 * ble_adv_policy_zephyr.c.
 *
 * @attention
 * SPDX-License-Identifier: MIT
 * Copyright (c) 2024 Fundamentals UWB project contributors.
 */

#include "ble_adv_policy.h"

bool ble_adv_policy_should_advertise(bool low_power_profile, enum ble_adv_policy_state state)
{
    if (!low_power_profile) {
        /* Bench profile: always-on advertising, unchanged from before
         * UWB-320 -- the requested state is not consulted. */
        return true;
    }

    /* Low-power profile (ADR-0046 point 4): suppress only while ACTIVE. */
    return state != BLE_ADV_POLICY_STATE_ACTIVE;
}
```

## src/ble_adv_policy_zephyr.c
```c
/*! ----------------------------------------------------------------------------
 * @file    ble_adv_policy_zephyr.c
 * @brief   Zephyr-side BLE advertising duty-cycle wiring (UWB-320,
 *          ADR-0046 point 4).
 *
 * Wraps the advertise / bt_le_adv_start()/bt_le_adv_stop() logic that used
 * to live directly in main.c (UWB-265), and drives it from
 * ble_adv_policy_should_advertise() (ble_adv_policy.c) instead of always
 * starting advertising unconditionally.
 *
 * Not compiled into the tests/ble_adv_policy host-test binary -- this file
 * needs the real Zephyr BT stack (bt_le_adv_start/stop, bt_conn callbacks),
 * which is not available on the 'unit_testing' platform. Exercised by the
 * real board build + the README "Hardware bring-up checklist".
 *
 * @attention
 * SPDX-License-Identifier: MIT
 * Copyright (c) 2024 Fundamentals UWB project contributors.
 */

#include <errno.h>

#include <zephyr/kernel.h>
#include <zephyr/logging/log.h>
#include <zephyr/bluetooth/bluetooth.h>
#include <zephyr/bluetooth/conn.h>

#include "ble_adv_policy.h"

LOG_MODULE_REGISTER(ble_adv_policy, LOG_LEVEL_DBG);

/* Advertising is (re)started from a work item so it can be re-armed from the
 * disconnect callback (which runs in the BT RX thread, not a context that
 * should block starting a new advertising set directly) -- carried forward
 * unchanged from the pre-UWB-320 main.c.
 */
static struct k_work advertise_work;

/* Tracks whether the policy currently wants advertising running. Guards the
 * disconnect callback's re-arm: without this, a disconnect that happens
 * while ACTIVE (low-power profile) would blindly resume advertising,
 * defeating the whole point of suppressing it.
 */
static bool adv_allowed;

/* Minimal advertising data: flags + the device name (CONFIG_BT_DEVICE_NAME,
 * "UWB-Tag"). The SMP GATT service itself (advertised implicitly by being
 * connectable + discoverable via GATT service discovery) is registered by
 * CONFIG_MCUMGR_TRANSPORT_BT; it does not need to be listed in the
 * advertising payload for a client to find it after connecting.
 */
static const struct bt_data ad[] = {
    BT_DATA_BYTES(BT_DATA_FLAGS, (BT_LE_AD_GENERAL | BT_LE_AD_NO_BREDR)),
    BT_DATA(BT_DATA_NAME_COMPLETE, CONFIG_BT_DEVICE_NAME, sizeof(CONFIG_BT_DEVICE_NAME) - 1),
};

static void advertise_work_handler(struct k_work *work)
{
    ARG_UNUSED(work);
    int err;

    bt_le_adv_stop();

    err = bt_le_adv_start(BT_LE_ADV_CONN, ad, ARRAY_SIZE(ad), NULL, 0);
    if (err) {
        LOG_ERR("BLE advertising failed to start (err %d)", err);
        return;
    }

    LOG_INF("BLE advertising started as \"%s\"", CONFIG_BT_DEVICE_NAME);
}

static void connected(struct bt_conn *conn, uint8_t err)
{
    ARG_UNUSED(conn);

    if (err) {
        LOG_ERR("BLE connection failed (err 0x%02x)", err);
        return;
    }

    LOG_INF("BLE central connected — SMP/MCUmgr service available");
}

static void disconnected(struct bt_conn *conn, uint8_t reason)
{
    ARG_UNUSED(conn);

    LOG_INF("BLE central disconnected (reason 0x%02x)", reason);

    if (!adv_allowed) {
        /* Suppressed (e.g. the tag entered ACTIVE tracking while a BLE
         * central was still connected) -- do not re-arm. Concurrent
         * OTA-during-tracking is out of scope (ADR-0040 defers it); this
         * just avoids silently undoing that suppression on disconnect. */
        LOG_INF("Not resuming advertising — suppressed by power-state policy (ADR-0046)");
        return;
    }

    LOG_INF("Resuming advertising");
    k_work_submit(&advertise_work);
}

BT_CONN_CB_DEFINE(conn_callbacks) = {
    .connected = connected,
    .disconnected = disconnected,
};

void ble_adv_policy_init(void)
{
    k_work_init(&advertise_work, advertise_work_handler);
}

void ble_adv_enable(void)
{
    adv_allowed = true;
    k_work_submit(&advertise_work);
}

void ble_adv_disable(void)
{
    adv_allowed = false;

    int err = bt_le_adv_stop();

    if (err && err != -EALREADY) {
        LOG_WRN("bt_le_adv_stop() returned unexpected err %d while disabling", err);
    }

    LOG_INF("BLE advertising suppressed (ADR-0046 point 4)");
}

void ble_adv_policy_set_state(enum ble_adv_policy_state state)
{
    bool low_power_profile = IS_ENABLED(CONFIG_UWB_TAG_LOW_POWER);

    if (ble_adv_policy_should_advertise(low_power_profile, state)) {
        ble_adv_enable();
    } else {
        ble_adv_disable();
    }
}
```
